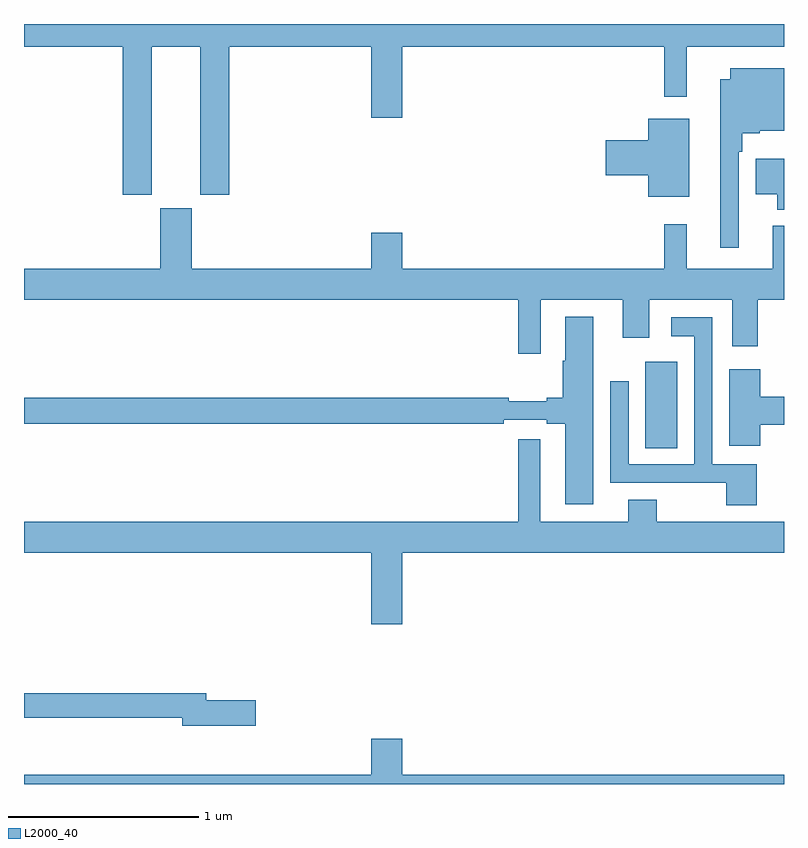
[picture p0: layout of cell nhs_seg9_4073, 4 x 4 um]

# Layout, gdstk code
import gdstk
lib = gdstk.Library(unit=1e-6, precision=1e-09)
def R(c, l, rs):  # rectangles x0, y0, x1, y1
    for r in rs: c.add(gdstk.rectangle(r[:2], r[2:], *l))
def P(c, l, *ps):  # polygons
    for p in ps: c.add(gdstk.Polygon(p, *l))
L2000_40 = (2000, 40)

nhs_seg9_4073 = lib.new_cell('nhs_seg9_4073')
R(nhs_seg9_4073, L2000_40, [(346.271,1234.267,346.438,1234.723)])
P(nhs_seg9_4073, L2000_40, [(343.672,1236.38),(343.928,1236.38),(343.928,1235.601),(344.081,1235.601),(344.081,1236.38),(344.828,1236.38),(344.828,1236.006),(344.992,1236.006),(344.992,1236.38),(346.369,1236.38),(346.369,1236.117),(346.488,1236.117),(346.488,1236.38),(347,1236.38),(347,1236.5),(343,1236.5),(343,1236.38),(343.52,1236.38),(343.52,1235.601),(343.672,1235.601)],
  [(346.761,1235.828),(346.779,1235.828),(346.779,1235.924),(346.872,1235.924),(346.872,1235.939),(347,1235.939),(347,1236.268),(346.718,1236.268),(346.718,1236.208),(346.664,1236.208),(346.664,1235.322),(346.761,1235.322)],
  [(346.501,1236.001),(346.286,1236.001),(346.286,1235.888),(346.062,1235.888),(346.062,1235.705),(346.286,1235.705),(346.286,1235.591),(346.501,1235.591)],
  [(347,1235.791),(346.851,1235.791),(346.851,1235.603),(346.964,1235.603),(346.964,1235.522),(347,1235.522)],
  [(345.721,1235.048),(346.151,1235.048),(346.151,1234.848),(346.291,1234.848),(346.291,1235.048),(346.727,1235.048),(346.727,1234.803),(346.862,1234.803),(346.862,1235.048),(347,1235.048),(347,1235.437),(346.94,1235.437),(346.94,1235.212),(346.487,1235.212),(346.487,1235.446),(346.369,1235.446),(346.369,1235.212),(344.992,1235.212),(344.992,1235.401),(344.828,1235.401),(344.828,1235.212),(343.882,1235.212),(343.882,1235.529),(343.718,1235.529),(343.718,1235.212),(343,1235.212),(343,1235.048),(345.6,1235.048),(345.6,1234.764),(345.721,1234.764)],
  [(345.997,1234.96),(345.848,1234.96),(345.848,1234.728),(345.836,1234.728),(345.836,1234.532),(345.752,1234.532),(345.752,1234.515),(345.552,1234.515),(345.552,1234.532),(343,1234.532),(343,1234.396),(345.524,1234.396),(345.524,1234.416),(345.752,1234.416),(345.752,1234.396),(345.848,1234.396),(345.848,1233.972),(345.997,1233.972)],
  [(346.856,1234.182),(346.623,1234.182),(346.623,1234.957),(346.407,1234.957),(346.407,1234.856),(346.527,1234.856),(346.527,1234.182),(346.182,1234.182),(346.182,1234.621),(346.086,1234.621),(346.086,1234.086),(346.43,1234.086),(346.43,1234.085),(346.696,1234.085),(346.696,1233.966),(346.856,1233.966)],
  [(346.874,1234.391),(347,1234.391),(347,1234.538),(346.874,1234.538),(346.874,1234.684),(346.712,1234.684),(346.712,1234.281),(346.874,1234.281)],
  [(344.992,1233.716),(347,1233.716),(347,1233.88),(346.329,1233.88),(346.329,1233.997),(346.181,1233.997),(346.181,1233.88),(345.718,1233.88),(345.718,1234.315),(345.601,1234.315),(345.601,1233.88),(343,1233.88),(343,1233.716),(344.828,1233.716),(344.828,1233.342),(344.992,1233.342)],
  [(344.221,1232.942),(343.96,1232.942),(343.96,1232.978),(343,1232.978),(343,1232.85),(343.832,1232.85),(343.832,1232.807),(344.221,1232.807)],
  [(347,1232.548),(344.992,1232.548),(344.992,1232.737),(344.828,1232.737),(344.828,1232.548),(343,1232.548),(343,1232.5),(347,1232.5)])

lib.write_gds('nhs_seg9_4073.gds')
